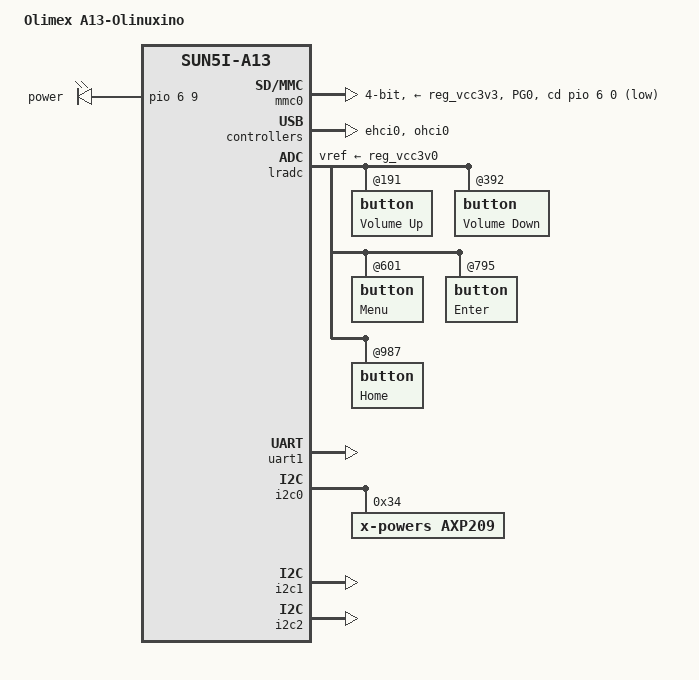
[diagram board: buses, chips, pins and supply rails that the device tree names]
/*
 * Copyright 2012 Maxime Ripard
 *
 * Maxime Ripard <maxime.ripard@free-electrons.com>
 *
 * The code contained herein is licensed under the GNU General Public
 * License. You may obtain a copy of the GNU General Public License
 * Version 2 or later at the following locations:
 *
 * http://www.opensource.org/licenses/gpl-license.html
 * http://www.gnu.org/copyleft/gpl.html
 */

/dts-v1/;
#include "sun5i-a13.dtsi"
#include "sunxi-common-regulators.dtsi"

#include <dt-bindings/gpio/gpio.h>
#include <dt-bindings/input/input.h>
#include <dt-bindings/pinctrl/sun4i-a10.h>

/ {
	model = "Olimex A13-Olinuxino";
	compatible = "olimex,a13-olinuxino", "allwinner,sun5i-a13";

	soc@01c00000 {
		mmc0: mmc@01c0f000 {
			pinctrl-names = "default";
			pinctrl-0 = <&mmc0_pins_a>, <&mmc0_cd_pin_olinuxino>;
			vmmc-supply = <&reg_vcc3v3>;
			bus-width = <4>;
			cd-gpios = <&pio 6 0 GPIO_ACTIVE_HIGH>; /* PG0 */
			cd-inverted;
			status = "okay";
		};

		usbphy: phy@01c13400 {
			usb1_vbus-supply = <&reg_usb1_vbus>;
			status = "okay";
		};

		ehci0: usb@01c14000 {
			status = "okay";
		};

		ohci0: usb@01c14400 {
			status = "okay";
		};

		pinctrl@01c20800 {
			mmc0_cd_pin_olinuxino: mmc0_cd_pin@0 {
				allwinner,pins = "PG0";
				allwinner,function = "gpio_in";
				allwinner,drive = <SUN4I_PINCTRL_10_MA>;
				allwinner,pull = <SUN4I_PINCTRL_PULL_UP>;
			};

			led_pins_olinuxino: led_pins@0 {
				allwinner,pins = "PG9";
				allwinner,function = "gpio_out";
				allwinner,drive = <SUN4I_PINCTRL_20_MA>;
				allwinner,pull = <SUN4I_PINCTRL_NO_PULL>;
			};

			usb1_vbus_pin_olinuxino: usb1_vbus_pin@0 {
				allwinner,pins = "PG11";
				allwinner,function = "gpio_out";
				allwinner,drive = <SUN4I_PINCTRL_10_MA>;
				allwinner,pull = <SUN4I_PINCTRL_NO_PULL>;
			};
		};

		lradc: lradc@01c22800 {
			vref-supply = <&reg_vcc3v0>;
			status = "okay";

			button@191 {
				label = "Volume Up";
				linux,code = <KEY_VOLUMEUP>;
				channel = <0>;
				voltage = <191274>;
			};

			button@392 {
				label = "Volume Down";
				linux,code = <KEY_VOLUMEDOWN>;
				channel = <0>;
				voltage = <392644>;
			};

			button@601 {
				label = "Menu";
				linux,code = <KEY_MENU>;
				channel = <0>;
				voltage = <601151>;
			};

			button@795 {
				label = "Enter";
				linux,code = <KEY_ENTER>;
				channel = <0>;
				voltage = <795090>;
			};

			button@987 {
				label = "Home";
				linux,code = <KEY_HOMEPAGE>;
				channel = <0>;
				voltage = <987387>;
			};
		};

		uart1: serial@01c28400 {
			pinctrl-names = "default";
			pinctrl-0 = <&uart1_pins_b>;
			status = "okay";
		};

		i2c0: i2c@01c2ac00 {
			pinctrl-names = "default";
			pinctrl-0 = <&i2c0_pins_a>;
			status = "okay";

			axp209: pmic@34 {
				compatible = "x-powers,axp209";
				reg = <0x34>;
				interrupts = <0>;

				interrupt-controller;
				#interrupt-cells = <1>;
			};
		};

		i2c1: i2c@01c2b000 {
			pinctrl-names = "default";
			pinctrl-0 = <&i2c1_pins_a>;
			status = "okay";
		};

		i2c2: i2c@01c2b400 {
			pinctrl-names = "default";
			pinctrl-0 = <&i2c2_pins_a>;
			status = "okay";
		};
	};

	leds {
		compatible = "gpio-leds";
		pinctrl-names = "default";
		pinctrl-0 = <&led_pins_olinuxino>;

		power {
			gpios = <&pio 6 9 GPIO_ACTIVE_HIGH>;
			default-state = "on";
		};
	};

	reg_usb1_vbus: usb1-vbus {
		pinctrl-0 = <&usb1_vbus_pin_olinuxino>;
		gpio = <&pio 6 11 GPIO_ACTIVE_HIGH>;
		status = "okay";
	};
};
